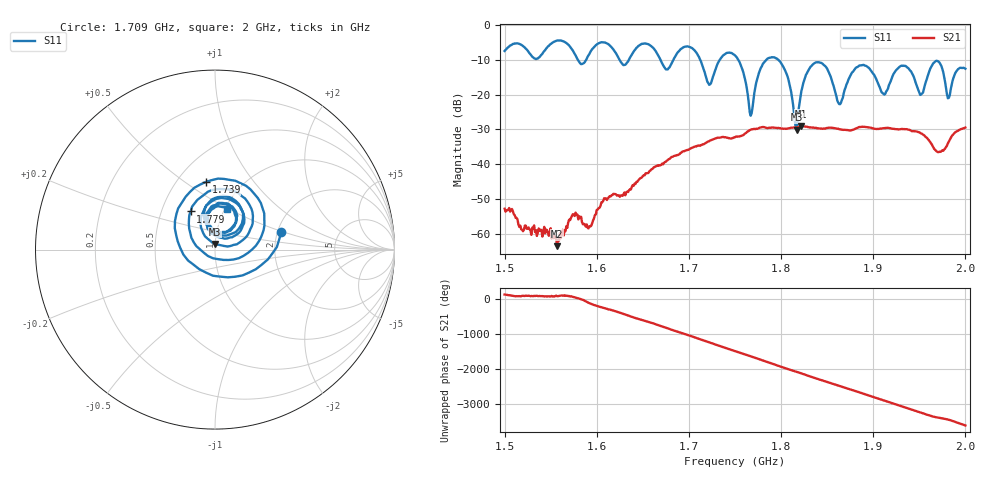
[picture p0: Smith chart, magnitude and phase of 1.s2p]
! NanoVNA-App by SYSJOINT et al v1.1.209 (+OD18)
! Date: 2026-01-21 14:15:57
! Start: 1,5GHz Stop: 2GHz Points: 501
! S-Parameter data: F S11 S21 S12 S22
# Hz S RI R 50
!  Frequency  S11_Real  S11_Imag  S21_Real  S21_Imag  S12_Real  S12_Imag  S22_Real  S22_Imag
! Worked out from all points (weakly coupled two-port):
!   501 points, 1.5 GHz to 2 GHz, reference 50 ohm
!   highest |S21| = -29.16 dB at 1.822 GHz (marker M1); lowest = -63.6 dB at 1.557 GHz (marker M2)
!   lowest |S11| = -30.1 dB at 1.817 GHz (marker M3), VSWR 1.06, Z = 50.1 + j3.14 ohm
!   |S11| at or under -10 dB: 1.712 GHz to 1.734 GHz (21.42 MHz wide, 1.24 % of centre); 1.753 GHz to 1.784 GHz (30.8 MHz wide, 1.74 % of centre); 1.797 GHz to end of sweep (the widest 3 of 6)
!   S12 and S22 are empty: the file has one direction only
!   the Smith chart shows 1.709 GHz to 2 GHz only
!   S11 on the Smith chart (normalised r, x): 1.709 GHz: 2.10, +0.49; 1.739 GHz: 0.69, +0.61; 1.779 GHz: 0.70, +0.32; 2 GHz: 1.02, +0.49
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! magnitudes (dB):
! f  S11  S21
! 1.5 GHz  -7.5  -52.8
! 1.557 GHz  -4.5  -63.6
! 1.584 GHz  -11.2  -56.7
! 1.667 GHz  -8.9  -40.5
! 1.709 GHz  -8.3  -34.7
! 1.722 GHz  -17.2  -33.4
! 1.739 GHz  -8.4  -32.3
! 1.75 GHz  -8.8  -32.3
! 1.767 GHz  -26.1  -30.1
! 1.779 GHz  -12.0  -29.4
! 1.801 GHz  -11.4  -29.8
! 1.817 GHz  -30.1  -29.5
! 1.822 GHz  -19.0  -29.2
! 1.834 GHz  -11.5  -29.5
! 1.863 GHz  -22.7  -30.0
! 1.886 GHz  -11.6  -29.3
! 1.917 GHz  -17.3  -29.6
! 1.934 GHz  -11.8  -29.9
! 1.952 GHz  -20.0  -31.2
! 1.971 GHz  -10.6  -36.6
! 1.982 GHz  -21.0  -33.5
! 2 GHz  -12.6  -29.5
